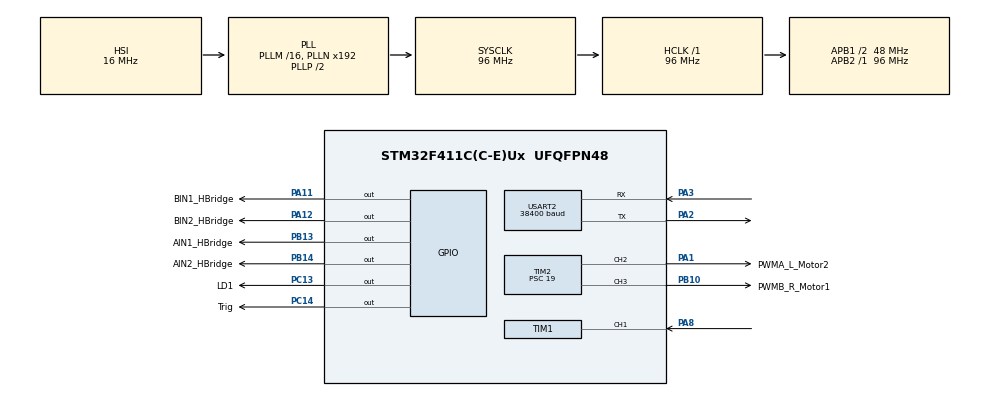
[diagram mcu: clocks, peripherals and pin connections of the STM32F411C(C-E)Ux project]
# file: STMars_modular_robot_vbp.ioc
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Dma.Request0=USART2_RX
Dma.Request1=USART2_TX
Dma.USART2_RX.0.Direction=DMA_PERIPH_TO_MEMORY
Dma.USART2_RX.0.FIFOMode=DMA_FIFOMODE_DISABLE
Dma.USART2_RX.0.Instance=DMA1_Stream5
Dma.USART2_RX.0.MemDataAlignment=DMA_MDATAALIGN_BYTE
Dma.USART2_RX.0.MemInc=DMA_MINC_ENABLE
Dma.USART2_RX.0.Mode=DMA_NORMAL
Dma.USART2_RX.0.PeriphDataAlignment=DMA_PDATAALIGN_BYTE
Dma.USART2_RX.0.PeriphInc=DMA_PINC_DISABLE
Dma.USART2_RX.0.Priority=DMA_PRIORITY_LOW
Dma.USART2_TX.1.Direction=DMA_MEMORY_TO_PERIPH
Dma.USART2_TX.1.FIFOMode=DMA_FIFOMODE_DISABLE
Dma.USART2_TX.1.Instance=DMA1_Stream6
Dma.USART2_TX.1.MemDataAlignment=DMA_MDATAALIGN_BYTE
Dma.USART2_TX.1.MemInc=DMA_MINC_ENABLE
Dma.USART2_TX.1.Mode=DMA_NORMAL
Dma.USART2_TX.1.PeriphDataAlignment=DMA_PDATAALIGN_BYTE
Dma.USART2_TX.1.PeriphInc=DMA_PINC_DISABLE
Dma.USART2_TX.1.Priority=DMA_PRIORITY_LOW
Mcu.Family=STM32F4
Mcu.Name=STM32F411C(C-E)Ux
Mcu.Package=UFQFPN48
NVIC.DMA1_Stream5_IRQn=true\:0\:0\:false\:false\:true\:false\:true
NVIC.DMA1_Stream6_IRQn=true\:0\:0\:false\:false\:true\:false\:true
NVIC.PriorityGroup=NVIC_PRIORITYGROUP_4
NVIC.TIM1_BRK_TIM9_IRQn=true\:0\:0\:false\:false\:true\:true\:true
NVIC.TIM1_CC_IRQn=true\:0\:0\:false\:false\:true\:true\:true
NVIC.TIM1_TRG_COM_TIM11_IRQn=true\:0\:0\:false\:false\:true\:true\:true
NVIC.TIM1_UP_TIM10_IRQn=true\:0\:0\:false\:false\:true\:true\:true
NVIC.TIM4_IRQn=true\:0\:0\:false\:true\:true\:1\:true\:true
NVIC.TIM5_IRQn=true\:0\:0\:false\:true\:true\:2\:true\:true
NVIC.USART2_IRQn=true\:0\:0\:false\:false\:true\:true\:true
PA1.GPIO_Label=PWMA_L_Motor2
PA1.Signal=S_TIM2_CH2
PA11.GPIO_Label=BIN1_HBridge
PA11.Signal=GPIO_Output
PA12.GPIO_Label=BIN2_HBridge
PA12.Signal=GPIO_Output
PA2.Mode=Asynchronous
PA2.Signal=USART2_TX
PA3.Mode=Asynchronous
PA3.Signal=USART2_RX
PA8.Signal=S_TIM1_CH1
PB10.GPIO_Label=PWMB_R_Motor1
PB10.Signal=S_TIM2_CH3
PB13.GPIO_Label=AIN1_HBridge
PB13.Signal=GPIO_Output
PB14.GPIO_Label=AIN2_HBridge
PB14.Signal=GPIO_Output
PC13-ANTI_TAMP.GPIO_Label=LD1
PC13-ANTI_TAMP.Signal=GPIO_Output
PC14-OSC32_IN.GPIO_Label=Trig
PC14-OSC32_IN.Signal=GPIO_Output
ProjectManager.HeapSize=0x200
ProjectManager.StackSize=0x400
ProjectManager.TargetToolchain=STM32CubeIDE
RCC.AHBFreq_Value=96000000
RCC.APB1CLKDivider=RCC_HCLK_DIV2
RCC.APB1Freq_Value=48000000
RCC.APB1TimFreq_Value=96000000
RCC.APB2Freq_Value=96000000
RCC.APB2TimFreq_Value=96000000
RCC.CortexFreq_Value=96000000
RCC.HCLKFreq_Value=96000000
RCC.HSE_VALUE=25000000
RCC.HSI_VALUE=16000000
RCC.LSE_VALUE=32768
RCC.SYSCLKFreq_VALUE=96000000
RCC.SYSCLKSource=RCC_SYSCLKSOURCE_PLLCLK
RCC.VCOOutputFreq_Value=192000000
SH.S_TIM1_CH1.0=TIM1_CH1,Input_Capture1_from_TI1
SH.S_TIM1_CH1.1=TIM1_CH1,Input_Capture2_from_TI1
SH.S_TIM2_CH2.0=TIM2_CH2,PWM Generation2 CH2
SH.S_TIM2_CH3.0=TIM2_CH3,PWM Generation3 CH3
TIM1.Channel-Input_Capture1_from_TI1=TIM_CHANNEL_1
TIM1.Channel-Input_Capture2_from_TI1=TIM_CHANNEL_2
TIM1.ICPolarity_CH2=TIM_INPUTCHANNELPOLARITY_FALLING
TIM1.Prescaler=95
TIM2.Channel-PWM\ Generation2\ CH2=TIM_CHANNEL_2
TIM2.Channel-PWM\ Generation3\ CH3=TIM_CHANNEL_3
TIM2.Period=99
TIM2.Prescaler=19
TIM4.Period=999
TIM4.Prescaler=8399
TIM5.Period=9
TIM5.Prescaler=95
USART2.BaudRate=38400
USART2.VirtualMode=VM_ASYNC
VP_TIM1_VS_ClockSourceINT.Mode=Internal
VP_TIM2_VS_ClockSourceINT.Mode=Internal
VP_TIM4_VS_ClockSourceINT.Mode=Internal
VP_TIM5_VS_ClockSourceINT.Mode=Internal
board=custom

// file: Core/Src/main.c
/* USER CODE BEGIN Header */
/**
  ******************************************************************************
  * @file           : main.c
  * @brief          : Main program body
  ******************************************************************************
  * @attention
  *
  * <h2><center>&copy; Copyright (c) 2021 STMicroelectronics.
  * All rights reserved.</center></h2>
  *
  * This software component is licensed by ST under BSD 3-Clause license,
  * the "License"; You may not use this file except in compliance with the
  * License. You may obtain a copy of the License at:
  *                        opensource.org/licenses/BSD-3-Clause
  *
  ******************************************************************************
  */
/* USER CODE END Header */
#include "main.h"
#include "dma.h"
#include "tim.h"
#include "usart.h"
#include "gpio.h"
#include "stdio.h"

/* USER CODE BEGIN Includes */
#include "uartdma.h"
#include "parser.h"
/* USER CODE END Includes */

/* USER CODE BEGIN PV */
UARTDMA_HandleTypeDef huartdma2;
uint8_t BufferReceive[64];
extern uint8_t MotorParameters[3];

volatile uint32_t TimerCounterDown;
volatile uint32_t TimerCounterUp;
volatile uint16_t TimerEcho;
volatile uint8_t CounterMesure;
volatile uint8_t OdlegloscCm;
char MessageMain[64]; // Transmit buffer

/* USER CODE END PV */

void SystemClock_Config(void);
static void MX_NVIC_Init(void);

int main(void)
{

  /* MCU Configuration--------------------------------------------------------*/

  /* Reset of all peripherals, Initializes the Flash interface and the Systick. */
  HAL_Init();

  /* Configure the system clock */
  SystemClock_Config();

  /* Initialize all configured peripherals */
  MX_GPIO_Init();
  MX_DMA_Init();
  MX_USART2_UART_Init();
  MX_TIM2_Init();
  MX_TIM4_Init();
  MX_TIM1_Init();
  MX_TIM5_Init();

  /* Initialize interrupts */
  MX_NVIC_Init();
  /* USER CODE BEGIN 2 */
  UARTDMA_Init(&huartdma2, &huart2);
  HAL_TIM_PWM_Start(&htim2, TIM_CHANNEL_2);
  HAL_TIM_PWM_Start(&htim2, TIM_CHANNEL_3);
  HAL_TIM_Base_Start_IT(&htim4);

  /* USER CODE BEGIN 2 */
    //
    // URUCHOMIENIE TIMEROW DO LICZENIA CZASU TRWANIA ECHA W TRYBIE INPUT CAPTURE
    //
    // TIM2 f=96MHz, PSC=95, CPRD=65535, ICD=1 => Tick_timera = 1us, Przepelnienie 0,06s
    HAL_TIM_IC_Start_IT(&htim1, TIM_CHANNEL_1); // zbocze narastajace -> poczatek echa
    HAL_TIM_IC_Start_IT(&htim1, TIM_CHANNEL_2); // zbocze opadajace -> koniec echa
  /* USER CODE END 2 */

  /* Infinite loop */
  /* USER CODE BEGIN WHILE */
  while (1)
  {
	  //
	  // RECEIVE
	  //
	  if(UARTDMA_IsDataReceivedReady(&huartdma2))
	  {
		  UART_ParseLine(&huartdma2); // Parsing function
	  }

	  //
	  // TRANSMIT
	  //
	  UARTDMA_TransmitEvent(&huartdma2);

    /* USER CODE END WHILE */

  }
}

void SystemClock_Config(void)
{
  RCC_OscInitTypeDef RCC_OscInitStruct = {0};
  RCC_ClkInitTypeDef RCC_ClkInitStruct = {0};

  /** Configure the main internal regulator output voltage
  */
  __HAL_RCC_PWR_CLK_ENABLE();
  __HAL_PWR_VOLTAGESCALING_CONFIG(PWR_REGULATOR_VOLTAGE_SCALE1);
  /** Initializes the RCC Oscillators according to the specified parameters
  * in the RCC_OscInitTypeDef structure.
  */
  RCC_OscInitStruct.OscillatorType = RCC_OSCILLATORTYPE_HSI;
  RCC_OscInitStruct.HSIState = RCC_HSI_ON;
  RCC_OscInitStruct.HSICalibrationValue = RCC_HSICALIBRATION_DEFAULT;
  RCC_OscInitStruct.PLL.PLLState = RCC_PLL_ON;
  RCC_OscInitStruct.PLL.PLLSource = RCC_PLLSOURCE_HSI;
  RCC_OscInitStruct.PLL.PLLM = 16;
  RCC_OscInitStruct.PLL.PLLN = 192;
  RCC_OscInitStruct.PLL.PLLP = RCC_PLLP_DIV2;
  RCC_OscInitStruct.PLL.PLLQ = 4;
  if (HAL_RCC_OscConfig(&RCC_OscInitStruct) != HAL_OK)
  {
    Error_Handler();
  }
  /** Initializes the CPU, AHB and APB buses clocks
  */
  RCC_ClkInitStruct.ClockType = RCC_CLOCKTYPE_HCLK|RCC_CLOCKTYPE_SYSCLK
                              |RCC_CLOCKTYPE_PCLK1|RCC_CLOCKTYPE_PCLK2;
  RCC_ClkInitStruct.SYSCLKSource = RCC_SYSCLKSOURCE_PLLCLK;
  RCC_ClkInitStruct.AHBCLKDivider = RCC_SYSCLK_DIV1;
  RCC_ClkInitStruct.APB1CLKDivider = RCC_HCLK_DIV2;
  RCC_ClkInitStruct.APB2CLKDivider = RCC_HCLK_DIV1;

  if (HAL_RCC_ClockConfig(&RCC_ClkInitStruct, FLASH_LATENCY_3) != HAL_OK)
  {
    Error_Handler();
  }
}

/**
  * @brief NVIC Configuration.
  * @retval None
  */
static void MX_NVIC_Init(void)
{
  /* TIM4_IRQn interrupt configuration */
  HAL_NVIC_SetPriority(TIM4_IRQn, 0, 0);
  HAL_NVIC_EnableIRQ(TIM4_IRQn);
  /* TIM5_IRQn interrupt configuration */
  HAL_NVIC_SetPriority(TIM5_IRQn, 0, 0);
  HAL_NVIC_EnableIRQ(TIM5_IRQn);
}

/* USER CODE BEGIN 4 */
void HAL_TIM_PeriodElapsedCallback(TIM_HandleTypeDef *htim)
{
	if(htim->Instance == TIM4) // with f = 10Hz upgrade motor parameters & check the distance
	{
	SwitchMotorRegular();
	HAL_GPIO_WritePin(Trig_GPIO_Port, Trig_Pin, GPIO_PIN_SET);
	HAL_TIM_Base_Start_IT(&htim5);
	}

	if(htim->Instance == TIM5)// TIM5 -> f=96MHz, PSC = 95, CPRD = 9, ISD = 1 => Tick_timer = 1us, Przepelnienie 10us
	{
	HAL_GPIO_WritePin(Trig_GPIO_Port, Trig_Pin, GPIO_PIN_RESET);
	HAL_TIM_Base_Stop_IT(&htim5);
	}
}
//
// LICZENIE CZASU TRWANIA ECHA
//
	void HAL_TIM_IC_CaptureCallback(TIM_HandleTypeDef *htim)
	{
		if(htim->Instance == TIM1)
		{
			if(htim->Channel == HAL_TIM_ACTIVE_CHANNEL_1) // zbocze narastajace -> poczatek echa
			{
				TimerCounterUp = __HAL_TIM_GetCompare(htim, TIM_CHANNEL_1);
				HAL_TIM_IC_Start_IT(htim, TIM_CHANNEL_1); //

			}
			else if (htim->Channel == HAL_TIM_ACTIVE_CHANNEL_2) //zbocze opadajace -> koniec echa
			{
				TimerCounterDown = __HAL_TIM_GetCompare(htim, TIM_CHANNEL_2);
				HAL_TIM_IC_Start_IT(htim, TIM_CHANNEL_2); //
				TimerEcho = TimerCounterDown - TimerCounterUp;	// czas trwania echa
				OdlegloscCm = (uint8_t)(TimerEcho/58);			}
		}
	}

/* USER CODE END 4 */

void Error_Handler(void)
{
  __disable_irq();
  while (1)
  {
  }
}

/************************ (C) COPYRIGHT STMicroelectronics *****END OF FILE****/
